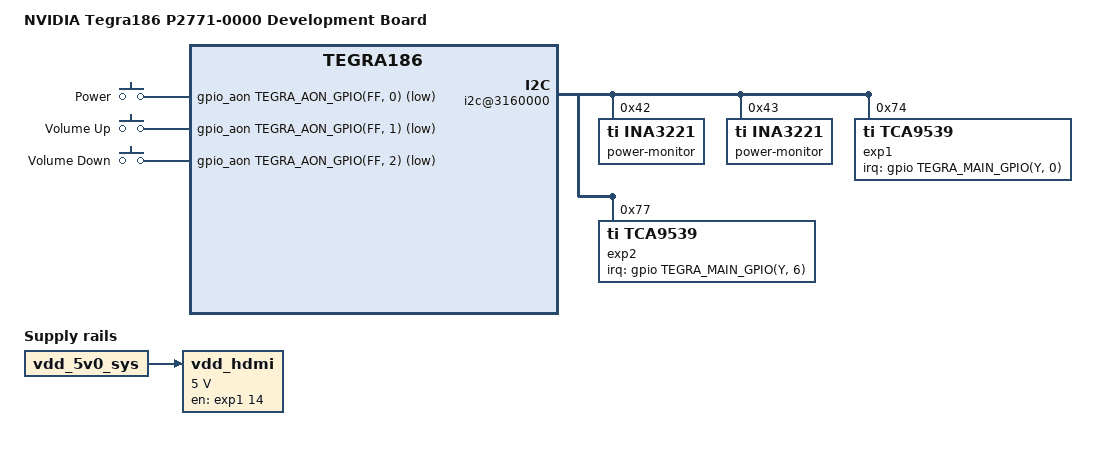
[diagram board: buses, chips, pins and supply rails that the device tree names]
/dts-v1/;

#include <dt-bindings/input/linux-event-codes.h>

#include "tegra186-p3310.dtsi"

/ {
	model = "NVIDIA Tegra186 P2771-0000 Development Board";
	compatible = "nvidia,p2771-0000", "nvidia,tegra186";

	i2c@3160000 {
		power-monitor@42 {
			compatible = "ti,ina3221";
			reg = <0x42>;
		};

		power-monitor@43 {
			compatible = "ti,ina3221";
			reg = <0x43>;
		};

		exp1: gpio@74 {
			compatible = "ti,tca9539";
			reg = <0x74>;

			interrupt-parent = <&gpio>;
			interrupts = <TEGRA_MAIN_GPIO(Y, 0) GPIO_ACTIVE_LOW>;

			#gpio-cells = <2>;
			gpio-controller;
		};

		exp2: gpio@77 {
			compatible = "ti,tca9539";
			reg = <0x77>;

			interrupt-parent = <&gpio>;
			interrupts = <TEGRA_MAIN_GPIO(Y, 6) GPIO_ACTIVE_LOW>;

			#gpio-cells = <2>;
			gpio-controller;
		};
	};

	gpio-keys {
		compatible = "gpio-keys";

		power {
			label = "Power";
			gpios = <&gpio_aon TEGRA_AON_GPIO(FF, 0)
					   GPIO_ACTIVE_LOW>;
			linux,input-type = <EV_KEY>;
			linux,code = <KEY_POWER>;
			debounce-interval = <10>;
			wakeup-source;
		};

		volume-up {
			label = "Volume Up";
			gpios = <&gpio_aon TEGRA_AON_GPIO(FF, 1)
					   GPIO_ACTIVE_LOW>;
			linux,input-type = <EV_KEY>;
			linux,code = <KEY_VOLUMEUP>;
			debounce-interval = <10>;
		};

		volume-down {
			label = "Volume Down";
			gpios = <&gpio_aon TEGRA_AON_GPIO(FF, 2)
					   GPIO_ACTIVE_LOW>;
			linux,input-type = <EV_KEY>;
			linux,code = <KEY_VOLUMEDOWN>;
			debounce-interval = <10>;
		};
	};

	regulators {
		compatible = "simple-bus";
		#address-cells = <1>;
		#size-cells = <0>;

		vdd_hdmi: regulator@100 {
			compatible = "regulator-fixed";
			reg = <100>;

			regulator-name = "VDD_HDMI_5V0";
			regulator-min-microvolt = <5000000>;
			regulator-max-microvolt = <5000000>;

			gpio = <&exp1 14 GPIO_ACTIVE_HIGH>;
			enable-active-high;

			vin-supply = <&vdd_5v0_sys>;
		};
	};
};
